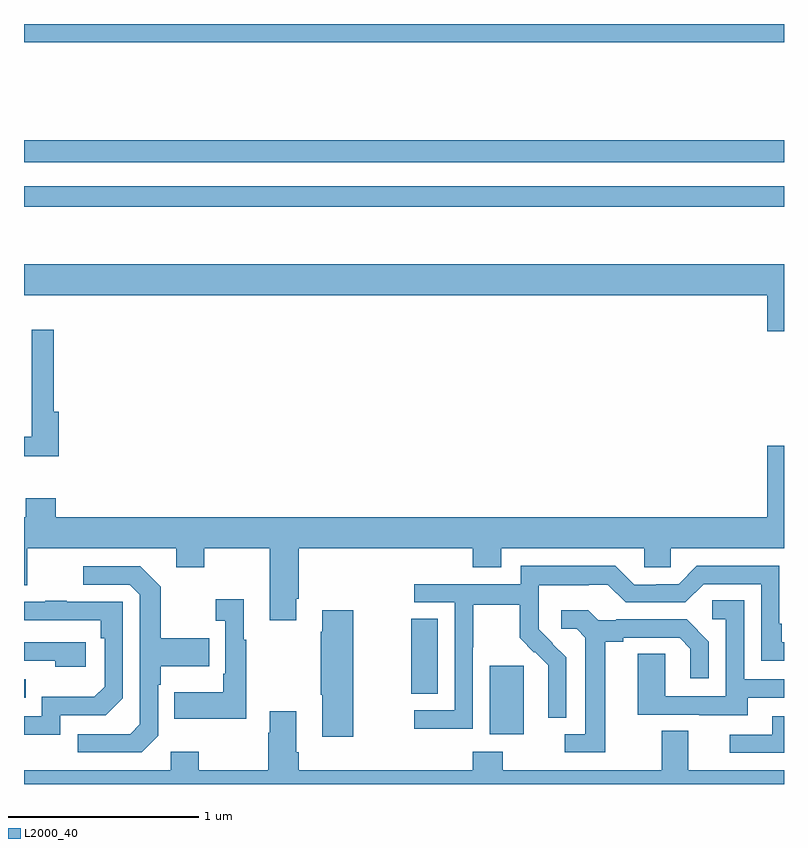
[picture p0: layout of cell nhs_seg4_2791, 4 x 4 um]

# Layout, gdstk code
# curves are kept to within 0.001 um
import gdstk
lib = gdstk.Library(unit=1e-6, precision=1e-09)
def R(c, l, rs):  # rectangles x0, y0, x1, y1
    for r in rs: c.add(gdstk.rectangle(r[:2], r[2:], *l))
def P(c, l, *ps):  # polygons
    for p in ps: c.add(gdstk.Polygon(p, *l))
L2000_40 = (2000, 40)

nhs_seg4_2791 = lib.new_cell('nhs_seg4_2791')
R(nhs_seg4_2791, L2000_40, [(259.451,809.162,259.63,809.523), (257,809.355,257.009,809.451), (259.039,809.374,259.177,809.771), (257,811.938,261,812.046), (257,812.172,261,812.288), (257,812.804,261,812.9)])
P(nhs_seg4_2791, L2000_40, [(261,811.636),(257,811.636),(257,811.472),(260.912,811.472),(260.912,811.284),(261,811.284)],
  [(257.183,810.859),(257.156,810.859),(257.156,811.291),(257.04,811.291),(257.04,810.727),(257,810.727),(257,810.626),(257.183,810.626)],
  [(258.433,809.875),(258.446,809.875),(258.446,810.14),(259.361,810.14),(259.361,810.041),(259.513,810.041),(259.513,810.14),(260.265,810.14),(260.265,810.042),(260.403,810.042),(260.403,810.14),(261,810.14),(261,810.679),(260.912,810.679),(260.912,810.304),(257.168,810.304),(257.168,810.403),(257.008,810.403),(257.008,810.304),(257,810.304),(257,809.946),(257.017,809.946),(257.017,810.14),(257.801,810.14),(257.801,810.041),(257.949,810.041),(257.949,810.14),(258.293,810.14),(258.293,809.763),(258.433,809.763)],
  [(259.362,809.62),(259.365,809.62),(259.365,809.844),(259.609,809.844),(259.609,809.669),(259.686,809.592),(259.689,809.595),(259.76,809.525),(259.76,809.402),(259.758,809.402),(259.758,809.248),(259.854,809.248),(259.854,809.566),(259.708,809.714),(259.708,809.811),(259.71,809.811),(259.71,809.945),(259.973,809.945),(259.973,809.949),(260.073,809.949),(260.166,809.856),(260.481,809.856),(260.577,809.952),(260.88,809.952),(260.88,809.55),(261,809.55),(261,809.646),(260.989,809.646),(260.989,809.743),(260.976,809.743),(260.976,810.048),(260.541,810.048),(260.445,809.952),(260.327,809.952),(260.327,809.949),(260.211,809.949),(260.111,810.049),(259.614,810.049),(259.614,809.952),(259.053,809.952),(259.053,809.856),(259.266,809.856),(259.266,809.289),(259.053,809.289),(259.053,809.191),(259.362,809.191)],
  [(257.706,809.154),(257.706,809.423),(257.719,809.423),(257.719,809.519),(257.975,809.519),(257.975,809.667),(257.719,809.667),(257.719,809.939),(257.613,810.045),(257.313,810.045),(257.313,809.949),(257.556,809.949),(257.61,809.895),(257.61,809.214),(257.559,809.163),(257.283,809.163),(257.283,809.067),(257.619,809.067)],
  [(258.169,809.659),(258.157,809.659),(258.157,809.872),(258.009,809.872),(258.009,809.759),(258.06,809.759),(258.06,809.479),(258.048,809.479),(258.048,809.383),(257.791,809.383),(257.791,809.243),(258.169,809.243)],
  [(260.809,809.355),(261,809.355),(261,809.451),(260.79,809.451),(260.79,809.867),(260.622,809.867),(260.622,809.766),(260.694,809.766),(260.694,809.361),(260.376,809.361),(260.376,809.585),(260.231,809.585),(260.231,809.265),(260.555,809.265),(260.555,809.261),(260.809,809.261)],
  [(257.19,809.262),(257.43,809.262),(257.52,809.352),(257.52,809.859),(257.225,809.859),(257.225,809.864),(257.113,809.864),(257.113,809.859),(257,809.859),(257,809.763),(257.404,809.763),(257.404,809.666),(257.424,809.666),(257.424,809.412),(257.371,809.359),(257.094,809.359),(257.094,809.256),(257,809.256),(257,809.16),(257.19,809.16)],
  [(260.059,809.648),(260.155,809.648),(260.155,809.67),(260.45,809.67),(260.507,809.613),(260.507,809.457),(260.604,809.457),(260.604,809.65),(260.488,809.766),(260.116,809.766),(260.116,809.763),(260.022,809.763),(259.97,809.815),(259.827,809.815),(259.827,809.718),(259.908,809.718),(259.955,809.671),(259.955,809.163),(259.845,809.163),(259.845,809.067),(260.059,809.067)],
  [(258.732,809.815),(258.569,809.815),(258.569,809.702),(258.562,809.702),(258.562,809.371),(258.569,809.371),(258.569,809.148),(258.732,809.148)],
  [(257.326,809.646),(257,809.646),(257,809.55),(257.165,809.55),(257.165,809.516),(257.326,809.516)],
  [(257.772,809.071),(257.772,808.972),(257,808.972),(257,808.9),(261,808.9),(261,808.972),(260.497,808.972),(260.497,809.18),(260.357,809.18),(260.357,808.972),(259.521,808.972),(259.521,809.071),(259.361,809.071),(259.361,808.972),(258.446,808.972),(258.446,809.068),(258.433,809.068),(258.433,809.284),(258.293,809.284),(258.293,809.171),(258.286,809.171),(258.286,808.972),(257.919,808.972),(257.919,809.071)],
  [(261,809.256),(260.939,809.256),(260.939,809.16),(260.715,809.16),(260.715,809.064),(261,809.064)])

lib.write_gds('nhs_seg4_2791.gds')
